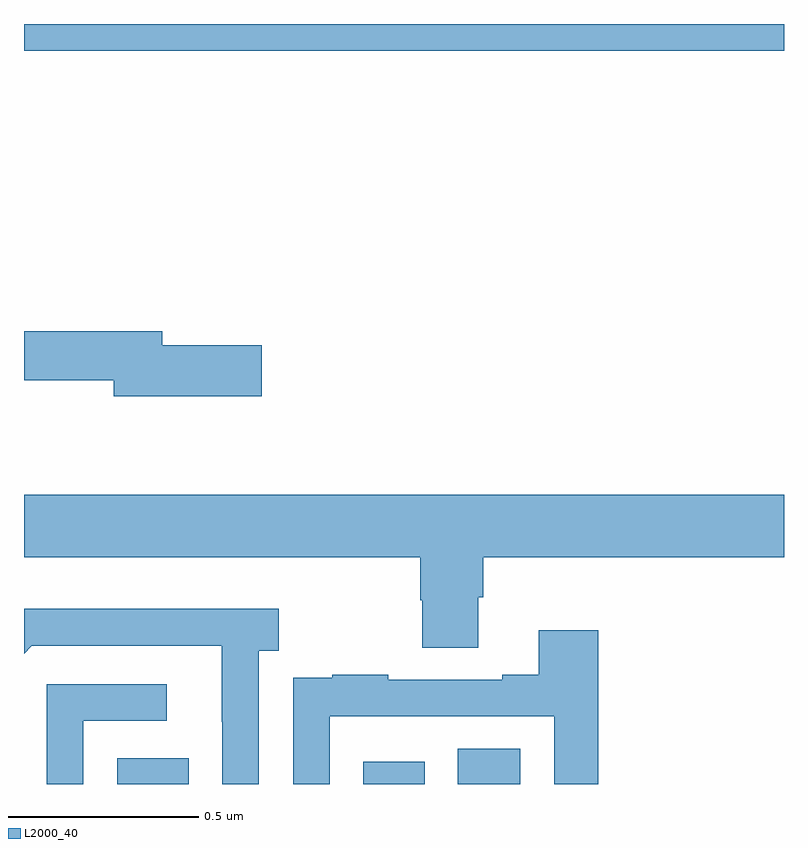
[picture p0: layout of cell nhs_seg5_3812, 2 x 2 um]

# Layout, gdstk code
import gdstk
lib = gdstk.Library(unit=1e-6, precision=1e-09)
def R(c, l, rs):  # rectangles x0, y0, x1, y1
    for r in rs: c.add(gdstk.rectangle(r[:2], r[2:], *l))
def P(c, l, *ps):  # polygons
    for p in ps: c.add(gdstk.Polygon(p, *l))
L2000_40 = (2000, 40)

nhs_seg5_3812 = lib.new_cell('nhs_seg5_3812')
R(nhs_seg5_3812, L2000_40, [(162.245,886.799,162.433,886.867), (162.893,886.799,163.054,886.858), (163.142,886.799,163.306,886.892), (162,888.728,164,888.799)])
P(nhs_seg5_3812, L2000_40, [(162.625,887.954),(162.364,887.954),(162.364,887.99),(162,887.99),(162,887.862),(162.236,887.862),(162.236,887.819),(162.625,887.819)],
  [(162,887.396),(163.043,887.396),(163.043,887.283),(163.048,887.283),(163.048,887.158),(163.195,887.158),(163.195,887.29),(163.208,887.29),(163.208,887.396),(164,887.396),(164,887.56),(162,887.56)],
  [(162.618,887.15),(162.67,887.15),(162.67,887.26),(162,887.26),(162,887.142),(162.021,887.163),(162.521,887.163),(162.521,886.963),(162.522,886.963),(162.522,886.799),(162.618,886.799)],
  [(162.804,886.977),(163.395,886.977),(163.395,886.799),(163.511,886.799),(163.511,887.203),(163.355,887.203),(163.355,887.086),(163.259,887.086),(163.259,887.073),(162.959,887.073),(162.959,887.086),(162.811,887.086),(162.811,887.079),(162.709,887.079),(162.709,886.97),(162.708,886.97),(162.708,886.799),(162.804,886.799)],
  [(162.156,886.965),(162.376,886.965),(162.376,887.061),(162.06,887.061),(162.06,886.799),(162.156,886.799)])

lib.write_gds('nhs_seg5_3812.gds')
